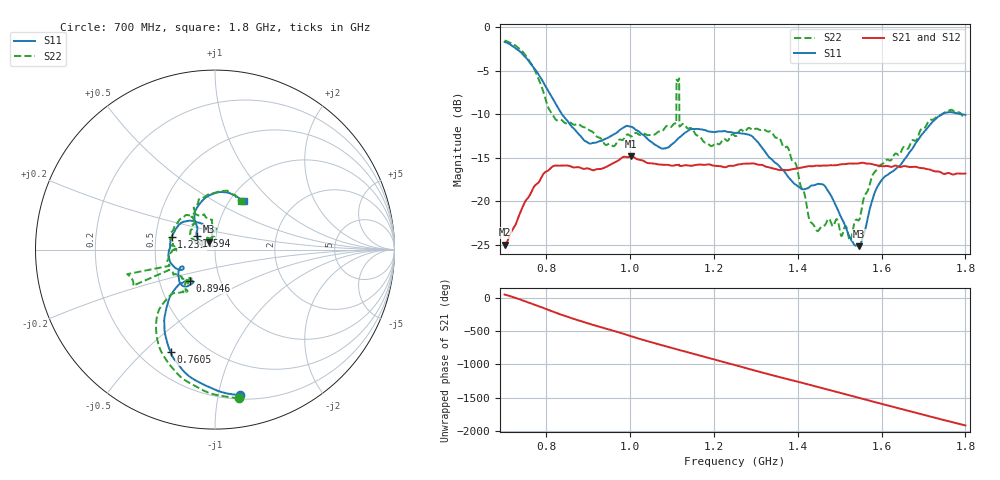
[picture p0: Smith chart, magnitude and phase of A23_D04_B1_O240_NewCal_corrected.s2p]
! Created with skrf 1.9.0 (http://scikit-rf.org).
# Hz S RI R 50.0
!freq ReS11 ImS11 ReS21 ImS21 ReS12 ImS12 ReS22 ImS22
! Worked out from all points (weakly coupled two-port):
!   1601 points, 700 MHz to 1.8 GHz, reference 50 ohm
!   highest |S21| = -14.83 dB at 1.002 GHz (marker M1); lowest = -24.9 dB at 700 MHz (marker M2)
!   lowest |S11| = -25.1 dB at 1.546 GHz (marker M3), VSWR 1.12, Z = 46.7 + j4.2 ohm
!   |S11| at or under -10 dB: 837.1 MHz to 1.744 GHz (907 MHz wide, 70.3 % of centre); 1.788 GHz to end of sweep
!   |S22| runs from -24.6 to -1.5 dB; largest |S21 - S12| = 0.0032
!   S11 on the Smith chart (normalised r, x): 700 MHz: 0.23, -1.16; 760.5 MHz: 0.32, -0.61; 894.6 MHz: 0.72, -0.26; 1.231 GHz: 0.61, +0.09; 1.594 GHz: 0.81, +0.12; 1.8 GHz: 1.16, +0.69
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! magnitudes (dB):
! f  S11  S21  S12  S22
! 700 MHz  -1.7  -24.9  -24.7  -1.5
! 760.5 MHz  -4.1  -19.2  -19.1  -4.0
! 819.6 MHz  -8.6  -15.9  -16.0  -10.5
! 883.6 MHz  -12.6  -16.2  -16.1  -11.4
! 894.6 MHz  -13.1  -16.2  -16.3  -11.6
! 1.002 GHz  -11.4  -14.8  -14.9  -12.5
! 1.067 GHz  -13.7  -15.8  -15.7  -12.0
! 1.104 GHz  -13.3  -15.9  -15.8  -11.1
! 1.111 GHz  -12.9  -15.8  -15.9  -6.1
! 1.123 GHz  -12.5  -15.9  -15.8  -11.2
! 1.231 GHz  -12.0  -16.0  -15.9  -13.0
! 1.25 GHz  -12.1  -15.9  -15.8  -12.5
! 1.356 GHz  -16.0  -16.4  -16.3  -12.7
! 1.396 GHz  -18.1  -16.2  -16.2  -15.8
! 1.434 GHz  -18.2  -16.0  -15.9  -22.5
! 1.467 GHz  -18.4  -15.9  -15.9  -22.6
! 1.525 GHz  -24.2  -15.6  -15.6  -24.6
! 1.546 GHz  -25.1  -15.6  -15.6  -22.1
! 1.594 GHz  -18.0  -15.9  -15.9  -15.9
! 1.617 GHz  -16.8  -16.0  -15.9  -15.3
! 1.734 GHz  -10.3  -16.6  -16.6  -10.2
! 1.8 GHz  -10.1  -16.8  -16.8  -10.3
